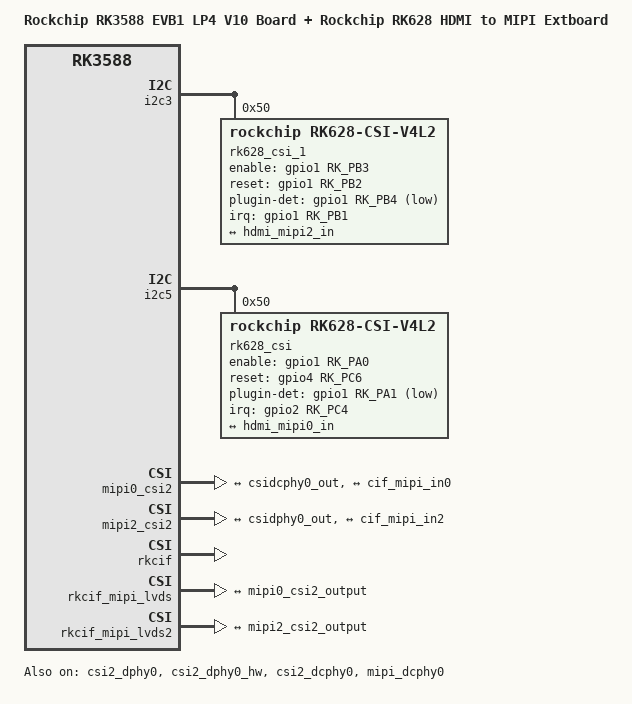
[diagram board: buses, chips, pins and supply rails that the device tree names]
// SPDX-License-Identifier: (GPL-2.0+ OR MIT)
/*
 * Copyright (c) 2022 Rockchip Electronics Co., Ltd.
 *
 */
/dts-v1/;

#include "rk3588-evb1-lp4.dtsi"
#include "rk3588-android.dtsi"

/ {
	model = "Rockchip RK3588 EVB1 LP4 V10 Board + Rockchip RK628 HDMI to MIPI Extboard";
	compatible = "rockchip,rk3588-evb1-lp4-v10", "rockchip,rk3588";

	vcc_mipicsi0: vcc-mipicsi0-regulator {
		/delete-property/ gpio;
		/delete-property/ pinctrl-0;
	};

	vcc_mipicsi1: vcc-mipicsi1-regulator {
		/delete-property/ gpio;
		/delete-property/ pinctrl-0;
	};

	vcc_mipidcphy0: vcc-mipidcphy0-regulator {
		/delete-property/ gpio;
		/delete-property/ pinctrl-0;
	};
};

&csi2_dphy0 {
	status = "okay";

	ports {
		#address-cells = <1>;
		#size-cells = <0>;
		port@0 {
			reg = <0>;
			#address-cells = <1>;
			#size-cells = <0>;

			hdmi_mipi2_in: endpoint@1 {
				reg = <1>;
				remote-endpoint = <&hdmiin_out1>;
				data-lanes = <1 2 3 4>;
			};
		};
		port@1 {
			reg = <1>;
			#address-cells = <1>;
			#size-cells = <0>;

			csidphy0_out: endpoint@0 {
				reg = <0>;
				remote-endpoint = <&mipi2_csi2_input>;
			};
		};
	};
};

&csi2_dphy0_hw {
	status = "okay";
};

&csi2_dcphy0 {
	status = "okay";

	ports {
		#address-cells = <1>;
		#size-cells = <0>;
		port@0 {
			reg = <0>;
			#address-cells = <1>;
			#size-cells = <0>;

			hdmi_mipi0_in: endpoint@1 {
				reg = <1>;
				remote-endpoint = <&hdmiin_out0>;
				data-lanes = <1 2 3 4>;
			};
		};
		port@1 {
			reg = <1>;
			#address-cells = <1>;
			#size-cells = <0>;

			csidcphy0_out: endpoint@0 {
				reg = <0>;
				remote-endpoint = <&mipi0_csi2_input>;
			};
		};
	};
};

&i2c3 {
	status = "okay";

	rk628_csi_1: rk628_csi_1@50 {
		reg = <0x50>;
		compatible = "rockchip,rk628-csi-v4l2";
		status = "okay";
		power-domains = <&power RK3588_PD_VI>;
		pinctrl-names = "default";
		pinctrl-0 = <&rk628_pin_1>;
		interrupt-parent = <&gpio1>;
		interrupts = <RK_PB1 IRQ_TYPE_LEVEL_HIGH>;
		enable-gpios = <&gpio1 RK_PB3 GPIO_ACTIVE_HIGH>;
		reset-gpios = <&gpio1 RK_PB2 GPIO_ACTIVE_HIGH>;
		plugin-det-gpios = <&gpio1 RK_PB4 GPIO_ACTIVE_LOW>;
		continues-clk = <1>;

		rockchip,camera-module-index = <0>;
		rockchip,camera-module-facing = "back";
		rockchip,camera-module-name = "HDMI-MIPI2";
		rockchip,camera-module-lens-name = "RK628-CSI";
		port {
			hdmiin_out1: endpoint {
				remote-endpoint = <&hdmi_mipi2_in>;
				data-lanes = <1 2 3 4>;
			};
		};
	};
};

&i2c5 {
	status = "okay";

	rk628_csi: rk628_csi@50 {
		reg = <0x50>;
		compatible = "rockchip,rk628-csi-v4l2";
		status = "okay";
		power-domains = <&power RK3588_PD_VI>;
		pinctrl-names = "default";
		pinctrl-0 = <&rk628_pin>;
		interrupt-parent = <&gpio2>;
		interrupts = <RK_PC4 IRQ_TYPE_LEVEL_HIGH>;
		enable-gpios = <&gpio1 RK_PA0 GPIO_ACTIVE_HIGH>;
		reset-gpios = <&gpio4 RK_PC6 GPIO_ACTIVE_HIGH>;
		plugin-det-gpios = <&gpio1 RK_PA1 GPIO_ACTIVE_LOW>;
		continues-clk = <1>;

		rockchip,camera-module-index = <0>;
		rockchip,camera-module-facing = "back";
		rockchip,camera-module-name = "HDMI-MIPI";
		rockchip,camera-module-lens-name = "RK628-CSI";
		port {
			hdmiin_out0: endpoint {
				remote-endpoint = <&hdmi_mipi0_in>;
				data-lanes = <1 2 3 4>;
			};
		};
	};
};

&mipi_dcphy0 {
	status = "okay";
};

&mipi0_csi2 {
	status = "okay";

	ports {
		#address-cells = <1>;
		#size-cells = <0>;

		port@0 {
			reg = <0>;
			#address-cells = <1>;
			#size-cells = <0>;

			mipi0_csi2_input: endpoint@1 {
				reg = <1>;
				remote-endpoint = <&csidcphy0_out>;
			};
		};

		port@1 {
			reg = <1>;
			#address-cells = <1>;
			#size-cells = <0>;

			mipi0_csi2_output: endpoint@0 {
				reg = <0>;
				remote-endpoint = <&cif_mipi_in0>;
			};
		};
	};
};

&mipi2_csi2 {
	status = "okay";

	ports {
		#address-cells = <1>;
		#size-cells = <0>;

		port@0 {
			reg = <0>;
			#address-cells = <1>;
			#size-cells = <0>;

			mipi2_csi2_input: endpoint@1 {
				reg = <1>;
				remote-endpoint = <&csidphy0_out>;
			};
		};

		port@1 {
			reg = <1>;
			#address-cells = <1>;
			#size-cells = <0>;

			mipi2_csi2_output: endpoint@0 {
				reg = <0>;
				remote-endpoint = <&cif_mipi_in2>;
			};
		};
	};
};

&rkcif {
	status = "okay";
};

&rkcif_mipi_lvds {
	status = "okay";

	port {
		cif_mipi_in0: endpoint {
			remote-endpoint = <&mipi0_csi2_output>;
		};
	};
};

&rkcif_mipi_lvds2 {
	status = "okay";

	port {
		cif_mipi_in2: endpoint {
			remote-endpoint = <&mipi2_csi2_output>;
		};
	};
};

&rkcif_mmu {
	status = "okay";
};

&pinctrl {
	hdmiin {
		rk628_pin: rk628-pin {
			rockchip,pins = <1 RK_PA0 RK_FUNC_GPIO &pcfg_pull_none>,
					<2 RK_PC4 RK_FUNC_GPIO &pcfg_pull_none>,
					<1 RK_PA1 RK_FUNC_GPIO &pcfg_pull_none>,
					<4 RK_PC6 RK_FUNC_GPIO &pcfg_pull_none>;
		};
		rk628_pin_1: rk628-pin-1 {
			rockchip,pins = <1 RK_PB1 RK_FUNC_GPIO &pcfg_pull_none>,
					<1 RK_PB2 RK_FUNC_GPIO &pcfg_pull_none>,
					<1 RK_PB3 RK_FUNC_GPIO &pcfg_pull_none>,
					<1 RK_PB4 RK_FUNC_GPIO &pcfg_pull_none>;
		};
	};
};
